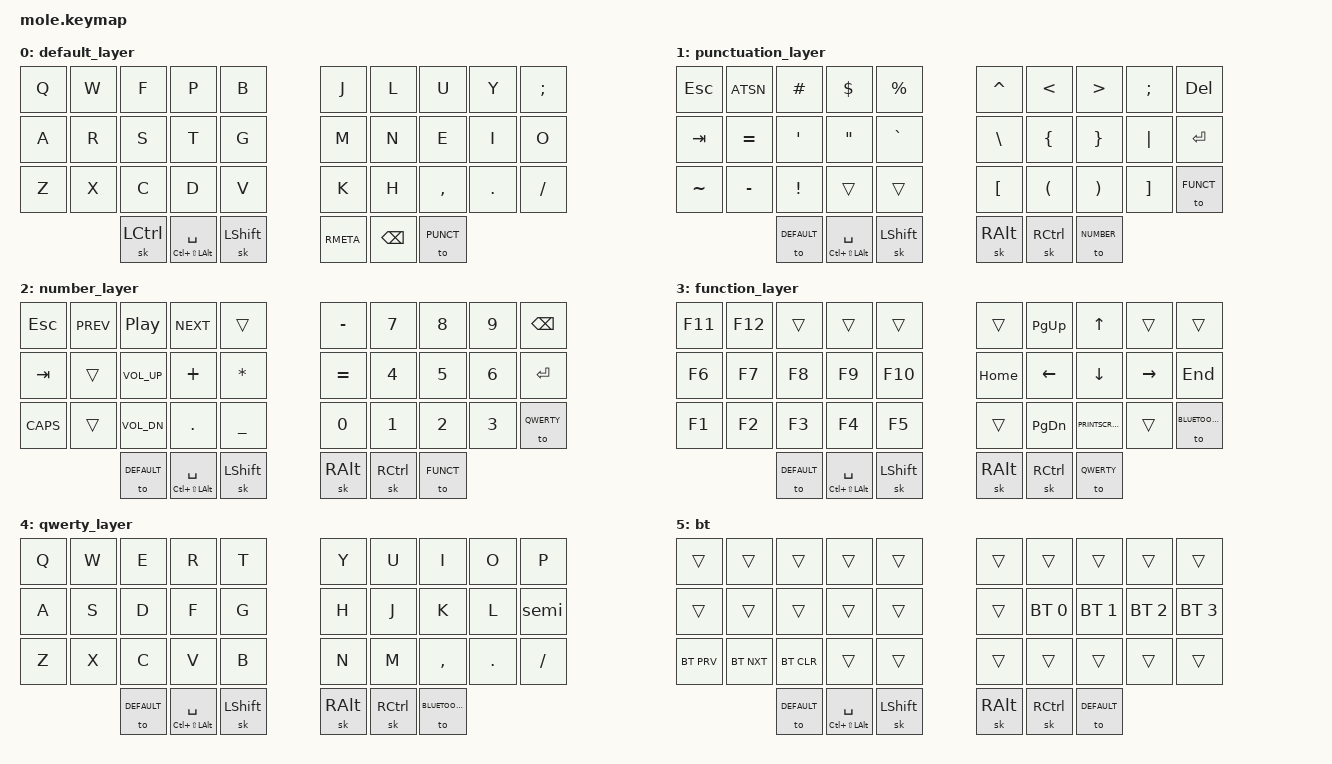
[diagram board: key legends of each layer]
#include <behaviors.dtsi>
#include <dt-bindings/zmk/keys.h>
#include <dt-bindings/zmk/bt.h>

#define DEFAULT   0
#define PUNCT     1
#define NUMBER    2
#define FUNCT     3
#define QWERTY    4
#define BLUETOOTH 5


&mt {
    flavor = "tap-preferred";
    tapping_term_ms = <200>;
};

&mmv {
   time-to-max-speed-ms = <680>;
   acceleration-exponent=<2>;
};

/ { 
        keymap {
                compatible = "zmk,keymap";
                
                default_layer {
        bindings = <
        &kp Q &kp W &kp F &kp P &kp B                            &kp J &kp L &kp U &kp Y &kp SEMI 
        &kp A &kp R &kp S &kp T &kp G                            &kp M &kp N &kp E &kp I &kp O 
        &kp Z &kp X &kp C &kp D &kp V                            &kp K &kp H &kp COMMA &kp DOT &kp SLASH
        &sk LCTRL &mt LC(LS(LALT)) SPC &sk LSHIFT                &kp RMETA &kp BKSP &to PUNCT
        >;
        };

                punctuation_layer {
        bindings = <
        &kp ESC &kp ATSN &kp HASH &kp DLLR &kp PRCNT             &kp CARET &kp LT &kp GT &kp SEMI &kp DEL
        &kp TAB &kp EQUAL &kp SQT &kp DQT &kp GRAVE              &kp BSLH &kp LBRC &kp RBRC &kp PIPE &kp ENTER
        &kp TILDE &kp MINUS &kp EXCL &trans &trans               &kp LBKT &kp LPRN &kp RPRN &kp RBKT &to FUNCT
        &to DEFAULT &mt LC(LS(LALT)) SPC &sk LSHIFT              &sk RALT &sk RCTRL &to NUMBER 
        >;
        };
        
                number_layer {
        bindings = <
        &kp ESC &kp C_PREV &kp C_PP &kp C_NEXT &trans            &kp MINUS &kp N7 &kp N8 &kp N9 &kp BKSP
        &kp TAB &trans &kp C_VOL_UP &kp PLUS &kp STAR            &kp EQUAL &kp N4 &kp N5 &kp N6  &kp ENTER
        &CAPS &trans &kp C_VOL_DN &kp DOT &kp UNDER              &kp N0 &kp N1 &kp N2 &kp N3 &to QWERTY
        &to DEFAULT &mt LC(LS(LALT)) SPC &sk LSHIFT              &sk RALT &sk RCTRL &to FUNCT
        >;
        };
        
                function_layer {
        bindings = <
        &kp F11 &kp F12 &trans &trans &trans                     &trans &kp PAGE_UP &kp UP_ARROW &trans &trans        
        &kp F6 &kp F7 &kp F8 &kp F9 &kp F10                      &kp HOME  &kp LEFT_ARROW &kp DOWN_ARROW &kp RIGHT_ARROW &kp END
        &kp F1 &kp F2 &kp F3 &kp F4 &kp F5                       &trans &kp PAGE_DOWN &PRINTSCREEN &trans &to BLUETOOTH
        &to DEFAULT &mt LC(LS(LALT)) SPC &sk LSHIFT              &sk RALT &sk RCTRL &to QWERTY
        >;
        };

                qwerty_layer {
        bindings = <
        &kp Q &kp W &kp E &kp R &kp T                            &kp Y &kp U &kp I &kp O &kp P 
        &kp A &kp S &kp D &kp F &kp G                            &kp H &kp J &kp K &kp L &kp semi 
        &kp Z &kp X &kp C &kp V &kp B                            &kp N &kp M &kp COMMA &kp DOT &kp SLASH
        &to DEFAULT &mt LC(LS(LALT)) SPC &sk LSHIFT              &sk RALT &sk RCTRL &to BLUETOOTH
        >;
        };

                bt {
        bindings = <
        &trans &trans &trans &trans &trans                       &trans &trans &trans &trans &trans 
        &trans &trans &trans &trans &trans                       &trans  &bt BT_SEL 0 &bt BT_SEL 1 &bt BT_SEL 2 &bt BT_SEL 3
        &bt BT_PRV &bt BT_NXT &bt BT_CLR &trans &trans           &trans &trans &trans &trans &trans 
        &to DEFAULT &mt LC(LS(LALT)) SPC &sk LSHIFT              &sk RALT &sk RCTRL &to DEFAULT
        >;
        };
    };
};
